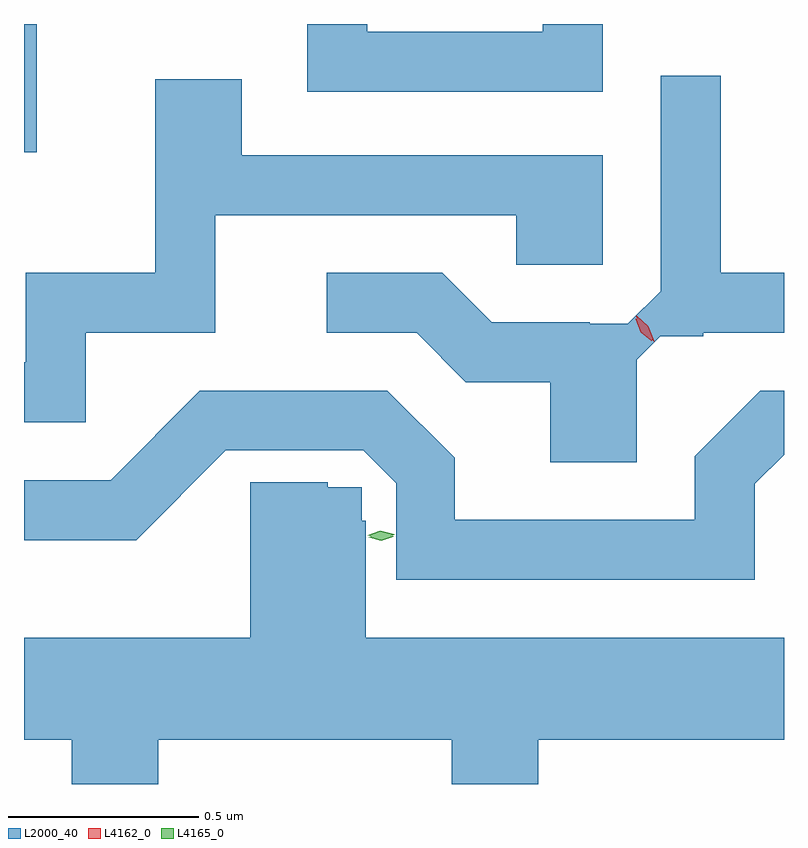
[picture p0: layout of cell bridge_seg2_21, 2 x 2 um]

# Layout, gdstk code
import gdstk
lib = gdstk.Library(unit=1e-6, precision=1e-09)
def R(c, l, rs):  # rectangles x0, y0, x1, y1
    for r in rs: c.add(gdstk.rectangle(r[:2], r[2:], *l))
def P(c, l, *ps):  # polygons
    for p in ps: c.add(gdstk.Polygon(p, *l))
L2000_40 = (2000, 40)
L4162_0 = (4162, 0)
L4165_0 = (4165, 0)

bridge_seg2_21 = lib.new_cell('bridge_seg2_21')
R(bridge_seg2_21, L2000_40, [(1686.336,1058.741,1686.369,1059.079)])
P(bridge_seg2_21, L2000_40, [(1687.859,1059.079),(1687.701,1059.079),(1687.701,1059.059),(1687.239,1059.059),(1687.239,1059.079),(1687.081,1059.079),(1687.081,1058.901),(1687.859,1058.901)],
  [(1687.949,1058.196),(1688.01,1058.257),(1688.123,1058.257),(1688.123,1058.266),(1688.336,1058.266),(1688.336,1058.424),(1688.169,1058.424),(1688.169,1058.943),(1688.011,1058.943),(1688.011,1058.376),(1687.925,1058.29),(1687.825,1058.29),(1687.825,1058.294),(1687.567,1058.294),(1687.437,1058.424),(1687.133,1058.424),(1687.133,1058.266),(1687.369,1058.266),(1687.499,1058.136),(1687.721,1058.136),(1687.721,1057.926),(1687.949,1057.926)],
  [(1686.499,1058.266),(1686.839,1058.266),(1686.839,1058.576),(1687.631,1058.576),(1687.631,1058.446),(1687.859,1058.446),(1687.859,1058.734),(1686.909,1058.734),(1686.909,1058.934),(1686.681,1058.934),(1686.681,1058.424),(1686.341,1058.424),(1686.341,1058.189),(1686.336,1058.189),(1686.336,1058.031),(1686.499,1058.031)],
  [(1688.259,1057.869),(1688.336,1057.945),(1688.336,1058.114),(1688.274,1058.114),(1688.101,1057.942),(1688.101,1057.774),(1687.469,1057.774),(1687.469,1057.937),(1687.292,1058.114),(1686.799,1058.114),(1686.564,1057.879),(1686.336,1057.879),(1686.336,1057.721),(1686.632,1057.721),(1686.867,1057.957),(1687.229,1057.957),(1687.315,1057.87),(1687.315,1057.616),(1688.259,1057.616)],
  [(1686.689,1057.196),(1687.461,1057.196),(1687.461,1057.079),(1687.689,1057.079),(1687.689,1057.196),(1688.336,1057.196),(1688.336,1057.464),(1687.235,1057.464),(1687.235,1057.772),(1687.225,1057.772),(1687.225,1057.86),(1687.135,1057.86),(1687.135,1057.873),(1686.932,1057.873),(1686.932,1057.772),(1686.931,1057.772),(1686.931,1057.464),(1686.336,1057.464),(1686.336,1057.196),(1686.461,1057.196),(1686.461,1057.079),(1686.689,1057.079)])
P(bridge_seg2_21, L4162_0, [(1687.987,1058.246),(1687.959,1058.268),(1687.946,1058.302),(1687.946,1058.303),(1687.947,1058.303),(1687.975,1058.28),(1687.988,1058.247),(1687.988,1058.246)],
  [(1687.994,1058.243),(1687.994,1058.243),(1687.963,1058.271),(1687.947,1058.31),(1687.947,1058.311),(1687.948,1058.311),(1687.979,1058.283),(1687.995,1058.244)])
P(bridge_seg2_21, L4165_0, [(1687.275,1057.725),(1687.24,1057.733),(1687.239,1057.734),(1687.24,1057.734),(1687.274,1057.745),(1687.31,1057.736),(1687.31,1057.736),(1687.31,1057.735)],
  [(1687.276,1057.719),(1687.243,1057.728),(1687.242,1057.728),(1687.243,1057.729),(1687.275,1057.74),(1687.308,1057.731),(1687.308,1057.731),(1687.308,1057.73)])

lib.write_gds('bridge_seg2_21.gds')
